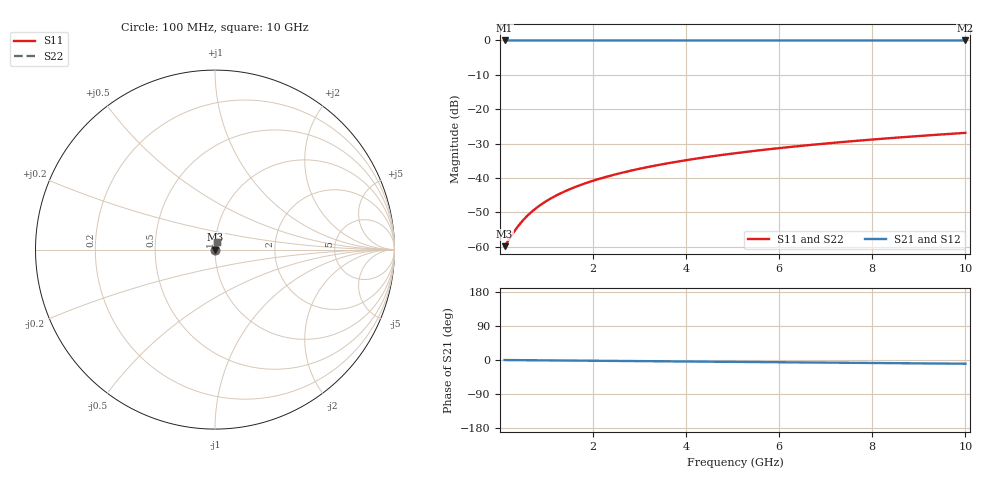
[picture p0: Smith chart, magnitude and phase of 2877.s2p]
# Hz S RI R 50.00
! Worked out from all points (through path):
!   100 points, 100 MHz to 10 GHz, reference 50 ohm
!   highest |S21| = -0.01 dB at 100 MHz (marker M1); lowest = 0.0 dB at 10 GHz (marker M2)
!   group delay of S21, straight-line fit = 2.74 ps
!   lowest |S11| = -59.8 dB at 100 MHz (marker M3), VSWR 1.00, Z = 50.1 + j0.0452 ohm
!   |S11| at or under -10 dB: start of sweep to end of sweep
!   |S22| runs from -59.8 to -26.9 dB; largest |S21 - S12| = 0
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1e8  0.000912 0.000451  0.9991 -0.00171  0.9991 -0.00171  0.000912 0.000451
3e8  0.000928 0.00135  0.9991 -0.00513  0.9991 -0.00513  0.000928 0.00135
4e8  0.000936 0.0018  0.999 -0.00684  0.999 -0.00684  0.000936 0.0018
5e8  0.000946 0.00225  0.999 -0.00855  0.999 -0.00855  0.000946 0.00225
6e8  0.000956 0.00271  0.999 -0.0103  0.999 -0.0103  0.000956 0.00271
7e8  0.000968 0.00316  0.999 -0.012  0.999 -0.012  0.000968 0.00316
8e8  0.000982 0.00361  0.999 -0.0137  0.999 -0.0137  0.000982 0.00361
1e9  0.00101 0.00451  0.9989 -0.0171  0.9989 -0.0171  0.00101 0.00451
1.2e9  0.00105 0.00541  0.9988 -0.0205  0.9988 -0.0205  0.00105 0.00541
1.5e9  0.00111 0.00676  0.9987 -0.0256  0.9987 -0.0256  0.00111 0.00676
1.8e9  0.00119 0.00811  0.9985 -0.0308  0.9985 -0.0308  0.00119 0.00811
2.1e9  0.00129 0.00946  0.9983 -0.0359  0.9983 -0.0359  0.00129 0.00946
2.5e9  0.00143 0.0113  0.998 -0.0427  0.998 -0.0427  0.00143 0.0113
2.9e9  0.0016 0.0131  0.9977 -0.0496  0.9977 -0.0496  0.0016 0.0131
3.4e9  0.00185 0.0153  0.9972 -0.0581  0.9972 -0.0581  0.00185 0.0153
4.2e9  0.00232 0.0189  0.9962 -0.0718  0.9962 -0.0718  0.00232 0.0189
5.1e9  0.00297 0.0229  0.9949 -0.0872  0.9949 -0.0872  0.00297 0.0229
5.9e9  0.00365 0.0264  0.9935 -0.1009  0.9935 -0.1009  0.00365 0.0264
6.7e9  0.00444 0.03  0.9919 -0.1146  0.9919 -0.1146  0.00444 0.03
7.5e9  0.00532 0.0335  0.9901 -0.1283  0.9901 -0.1283  0.00532 0.0335
8.4e9  0.00643 0.0374  0.9878 -0.1436  0.9878 -0.1436  0.00643 0.0374
1e10  0.00871 0.0444  0.9831 -0.1709  0.9831 -0.1709  0.00871 0.0444
